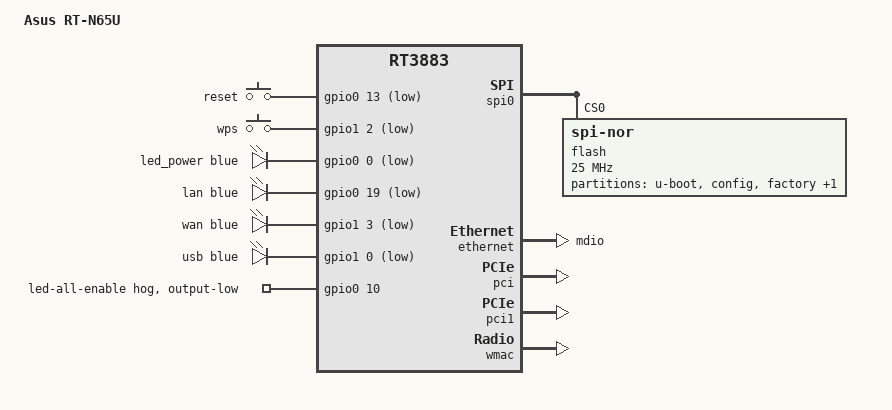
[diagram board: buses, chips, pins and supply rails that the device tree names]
// SPDX-License-Identifier: GPL-2.0-or-later OR MIT
#include "rt3883.dtsi"

#include <dt-bindings/gpio/gpio.h>
#include <dt-bindings/input/input.h>
#include <dt-bindings/leds/common.h>

/ {
	compatible = "asus,rt-n65u", "ralink,rt3883-soc";
	model = "Asus RT-N65U";

	aliases {
		led-boot = &led_power;
		led-failsafe = &led_power;
		led-running = &led_power;
		led-upgrade = &led_power;
	};

	chosen {
		bootargs = "console=ttyS0,115200";
	};

	rtl8367rb {
		compatible = "realtek,rtl8367b";
		realtek,extif = <6 1 0 1 1 1 1 1 1 2>;
		mii-bus = <&mdio0>;
	};

	keys {
		compatible = "gpio-keys";

		reset {
			label = "reset";
			gpios = <&gpio0 13 GPIO_ACTIVE_LOW>;
			linux,code = <KEY_RESTART>;
		};

		wps {
			label = "wps";
			gpios = <&gpio1 2 GPIO_ACTIVE_LOW>;
			linux,code = <KEY_WPS_BUTTON>;
		};
	};

	leds {
		compatible = "gpio-leds";

		led_power: power { // PWR
			function = LED_FUNCTION_POWER;
			color = <LED_COLOR_ID_BLUE>;
			gpios = <&gpio0 0 GPIO_ACTIVE_LOW>;
		};

		lan { // LAN
			function = LED_FUNCTION_LAN;
			color = <LED_COLOR_ID_BLUE>;
			gpios = <&gpio0 19 GPIO_ACTIVE_LOW>;
		};

		wan { // WAN
			function = LED_FUNCTION_WAN;
			color = <LED_COLOR_ID_BLUE>;
			gpios = <&gpio1 3 GPIO_ACTIVE_LOW>;
		};

		usb { // USB
			function = LED_FUNCTION_USB;
			color = <LED_COLOR_ID_BLUE>;
			gpios = <&gpio1 0 GPIO_ACTIVE_LOW>;
		};

		// There are also two LEDs for Wi-Fi:
		// - AIR2 (2.4GHz) can be turned on via <&gpio0 1 GPIO_ACTIVE_LOW>,
		//	 but not off: the RT3352 iNIC coprocessor drives the same line
		//	 independently, so it isn't declared as a controllable LED here.
		// - AIR5 (5GHz) is tied directly to the wmac radio state and turns
		//	 on/off automatically with it; no separate GPIO controls it.
	};
};

&spi0 {
	status = "okay";

	flash@0 {
		compatible = "jedec,spi-nor";
		reg = <0>;
		spi-max-frequency = <25000000>;

		partitions {
			compatible = "fixed-partitions";
			#address-cells = <1>;
			#size-cells = <1>;

			partition@0 {
				label = "u-boot";
				reg = <0x0 0x30000>;
				read-only;
			};

			partition@30000 {
				label = "config";
				reg = <0x30000 0x10000>;
				read-only;
			};

			partition@40000 {
				label = "factory";
				reg = <0x40000 0x10000>;
				read-only;

				nvmem-layout {
					compatible = "fixed-layout";
					#address-cells = <1>;
					#size-cells = <1>;

					eeprom_factory_0: eeprom@0 {
						reg = <0x0 0x200>;
					};

					macaddr_factory_4: macaddr@4 {
						reg = <0x4 0x6>;
					};
				};
			};

			partition@50000 {
				compatible = "denx,uimage";
				label = "firmware";
				reg = <0x50000 0xfb0000>;
			};
		};
	};
};

&gpio0 {
	// Enables the LED power rail (all LEDs except PWR).
	led_all_enable {
		gpio-hog;
		gpios = <10 GPIO_ACTIVE_HIGH>;
		output-low;
		line-name = "led-all-enable";
	};
};

&gpio1 {
	status = "okay";
};

&state_default {
	gpio {
		groups = "i2c", "jtag", "uartf";
		function = "gpio";
	};
};

&pinctrl {
	mdio_pins: mdio {
		mdio {
			groups = "mdio";
			function = "mdio";
		};
	};
};

&ethernet {
	pinctrl-names = "default";
	pinctrl-0 = <&mdio_pins>;

	nvmem-cells = <&macaddr_factory_4>;
	nvmem-cell-names = "mac-address";

	port@0 {
		status = "okay";
		mediatek,fixed-link = <1000 1 1 1>;
		phy-mode = "rgmii";
	};

	mdio0: mdio-bus {
		status = "okay";
	};
};

&pci {
	status = "okay";
};

// PCI port connected to the onboard USB 3.0 host controller.
&pci1 {
	status = "okay";
};

&wmac {
	ralink,2ghz = <0>;
	nvmem-cells = <&eeprom_factory_0>;
	nvmem-cell-names = "eeprom";
};
